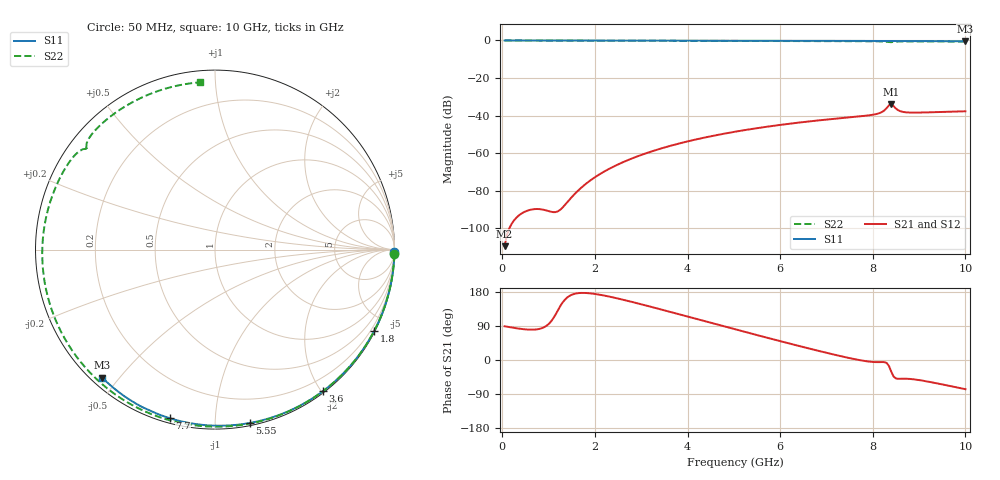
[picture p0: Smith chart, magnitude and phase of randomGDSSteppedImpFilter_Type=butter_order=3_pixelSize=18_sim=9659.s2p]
! freq	dB(S11)	phase(S11)	dB(S12)	phase(S12)
!  dB(S21)	phase(S21)	dB(S22)	phase(S22)
!S-par simulation data
#  GHz  S  DB  R 50
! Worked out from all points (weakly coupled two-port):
!   200 points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, 50 MHz to 10 GHz, reference 50 ohm
!   highest |S21| = -33.98 dB at 8.4 GHz (marker M1); lowest = -109.5 dB at 50 MHz (marker M2)
!   lowest |S11| = -0.4 dB at 10 GHz (marker M3), VSWR 39.36, Z = 1.53 - j22.6 ohm
!   |S11| at or under -10 dB: nowhere
!   |S22| runs from -0.9 to 0.0 dB; largest |S21 - S12| = 0
!   S11 on the Smith chart (normalised r, x): 50 MHz: open; 1.8 GHz: 0.04, -4.18; 3.6 GHz: 0.02, -2.02; 5.55 GHz: 0.02, -1.22; 7.7 GHz: 0.02, -0.77; 10 GHz: 0.03, -0.45
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0.05  -0.00 -0.8  -109.52 88.9  -109.52 88.9  -0.00 -1.5
0.8  -0.02 -12.1  -89.79 82.0  -89.79 82.0  -0.03 -23.5
1.6  -0.03 -24.0  -80.81 175.7  -80.81 175.7  -0.06 -46.4
1.75  -0.03 -26.2  -77.43 177.1  -77.43 177.1  -0.06 -50.6
1.8  -0.03 -26.9  -76.42 176.9  -76.42 176.9  -0.07 -52.0
2.1  -0.04 -31.3  -71.26 172.4  -71.26 172.4  -0.08 -60.3
2.45  -0.05 -36.4  -66.58 163.6  -66.58 163.6  -0.09 -69.8
3.4  -0.07 -49.9  -57.72 134.3  -57.72 134.3  -0.12 -94.6
3.6  -0.07 -52.7  -56.30 127.8  -56.30 127.8  -0.13 -99.7
4.3  -0.09 -62.2  -52.06 104.9  -52.06 104.9  -0.16 -117.1
5.05  -0.11 -72.2  -48.49 80.3  -48.49 80.3  -0.20 -135.2
5.55  -0.13 -78.7  -46.52 64.1  -46.52 64.1  -0.23 -147.2
6.7  -0.18 -93.0  -42.90 28.0  -42.90 28.0  -0.32 -175.0
7.7  -0.24 -105.0  -40.46 0.1  -40.46 0.1  -0.41 159.7
8.15  -0.28 -110.3  -38.64 -5.6  -38.64 -5.6  -0.50 147.2
8.25  -0.29 -111.4  -37.24 -5.6  -37.24 -5.6  -0.59 144.2
8.35  -0.29 -112.5  -34.54 -15.8  -34.54 -15.8  -0.85 141.8
8.4  -0.29 -113.1  -33.98 -31.2  -33.98 -31.2  -0.91 142.0
8.55  -0.30 -114.9  -37.17 -49.6  -37.17 -49.6  -0.57 138.6
8.7  -0.31 -116.6  -38.22 -49.3  -38.22 -49.3  -0.51 134.0
9.35  -0.37 -124.1  -38.16 -60.7  -38.16 -60.7  -0.54 114.8
10  -0.44 -131.4  -37.71 -77.0  -37.71 -77.0  -0.58 95.1
